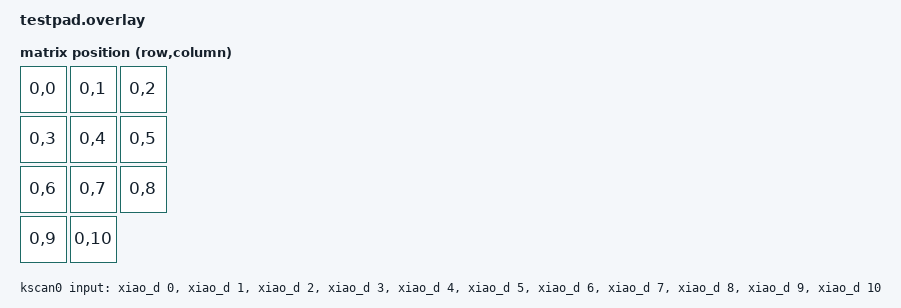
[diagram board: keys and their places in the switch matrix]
/*
*
* Copyright (c) 2024 Rafael Romão
* SPDX-License-Identifier: MIT
*
*/

#include <dt-bindings/zmk/matrix_transform.h>

/ {
    chosen {
        zmk,kscan = &kscan0;
        zmk,matrix_transform = &default_transform;
        /delete-property/ zephyr,console;
        /delete-property/ zephyr,shell-uart;
    };

    default_transform: keymap_transform_0 {
        compatible = "zmk,matrix-transform";
        columns = <11>;
        rows = <1>;
        map = <
        RC(0,0)  RC(0,1)  RC(0,2)
        RC(0,3)  RC(0,4)  RC(0,5)
        RC(0,6)  RC(0,7)  RC(0,8)
        RC(0,9)  RC(0,10)
        >;
    };


    kscan0: kscan {
        compatible = "zmk,kscan-gpio-direct";
        input-gpios
            = <&xiao_d 0 (GPIO_ACTIVE_LOW | GPIO_PULL_UP)>
            , <&xiao_d 1 (GPIO_ACTIVE_LOW | GPIO_PULL_UP)>
            , <&xiao_d 2 (GPIO_ACTIVE_LOW | GPIO_PULL_UP)>
            , <&xiao_d 3 (GPIO_ACTIVE_LOW | GPIO_PULL_UP)>
            , <&xiao_d 4 (GPIO_ACTIVE_LOW | GPIO_PULL_UP)>
            , <&xiao_d 5 (GPIO_ACTIVE_LOW | GPIO_PULL_UP)>
            , <&xiao_d 6 (GPIO_ACTIVE_LOW | GPIO_PULL_UP)>
            , <&xiao_d 7 (GPIO_ACTIVE_LOW | GPIO_PULL_UP)>
            , <&xiao_d 8 (GPIO_ACTIVE_LOW | GPIO_PULL_UP)>
            , <&xiao_d 9 (GPIO_ACTIVE_LOW | GPIO_PULL_UP)>
            , <&xiao_d 10 (GPIO_ACTIVE_LOW | GPIO_PULL_UP)>
            ;
    };

};

&xiao_spi { status = "disabled"; };
&xiao_serial { status = "disabled"; };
